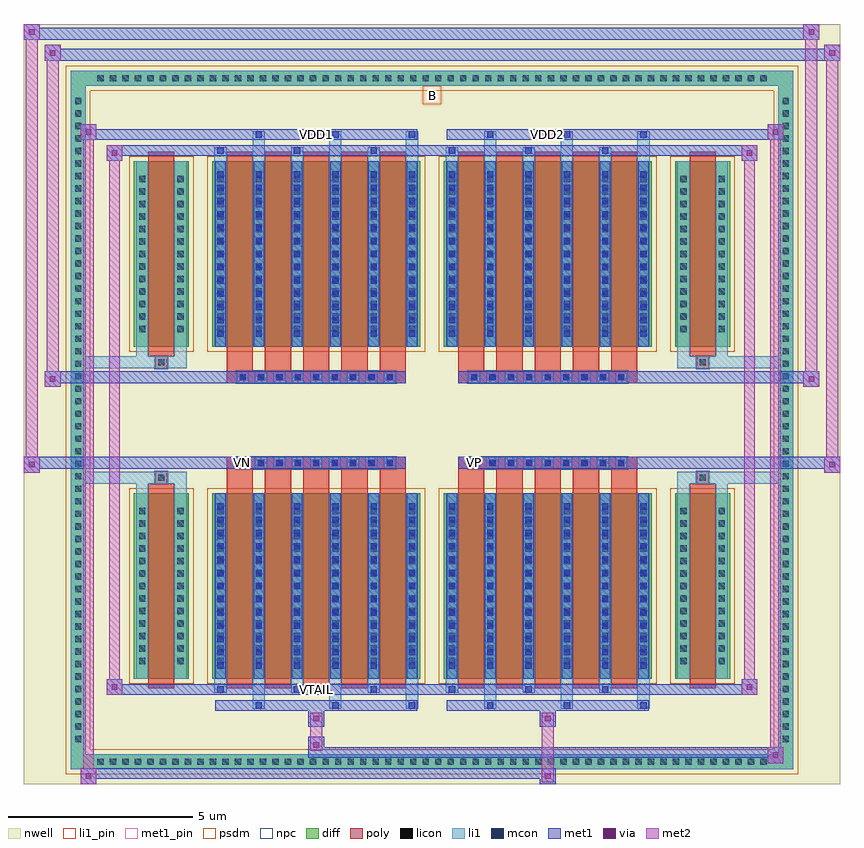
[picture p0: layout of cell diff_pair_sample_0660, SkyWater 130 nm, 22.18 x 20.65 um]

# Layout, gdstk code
import gdstk
lib = gdstk.Library(unit=1e-6, precision=5e-09)
def R(c, l, rs):  # rectangles x0, y0, x1, y1
    for r in rs: c.add(gdstk.rectangle(r[:2], r[2:], *l))
def A(c, l, x, y, w, h, nx, ny, dx, dy):  # array of equal rectangles
    R(c, l, [(x+i*dx, y+j*dy, x+i*dx+w, y+j*dy+h) for i in range(nx) for j in range(ny)])
def P(c, l, *ps):  # polygons
    for p in ps: c.add(gdstk.Polygon(p, *l))
nwell = (64, 20)
diff = (65, 20)
poly = (66, 20)
licon = (66, 44)
li1_pin = (67, 16)
li1 = (67, 20)
mcon = (67, 44)
met1_pin = (68, 16)
met1 = (68, 20)
via = (68, 44)
met2 = (69, 20)
psdm = (94, 20)
npc = (95, 20)

diff_pair_sample_0660 = lib.new_cell('diff_pair_sample_0660')
R(diff_pair_sample_0660, nwell, [(-11.09,-9.89,11.09,10.76), (-8.41,-8.08,-0.01,-0.8), (0.01,-8.08,8.41,-0.8), (-8.41,0.8,-0.01,8.08), (0.01,0.8,8.41,8.08)])
A(diff_pair_sample_0660, diff, -9.215, -9.49, 0.41, 0.41, 54, 2, 0.34, 18.57)
A(diff_pair_sample_0660, diff, -9.82, -8.875, 0.41, 0.41, 1, 52, 0, 0.34)
A(diff_pair_sample_0660, diff, 9.41, -8.875, 0.41, 0.41, 1, 52, 0, 0.34)
R(diff_pair_sample_0660, diff, [(-9.215,-9.49,9.215,-9.08), (-9.82,-8.875,-9.41,8.875), (9.41,-8.875,9.82,8.875), (-8.1,-7.035,-6.61,-1.985), (-5.97,-7.035,-0.32,-1.985), (0.32,-7.035,5.97,-1.985), (6.61,-7.035,8.1,-1.985), (-8.1,1.985,-6.61,7.035), (-5.97,1.985,-0.32,7.035), (0.32,1.985,5.97,7.035), (6.61,1.985,8.1,7.035), (-9.215,9.08,9.215,9.49)])
P(diff_pair_sample_0660, diff, [(9.82,9.49),(-9.82,9.49),(-9.82,-9.08),(-9.41,-9.08),(-9.41,9.08),(9.41,9.08),(9.41,-9.08),(-9.41,-9.08),(-9.82,-9.08),(-9.82,-9.49),(9.82,-9.49)])
A(diff_pair_sample_0660, poly, -5.58, -7.285, 0.71, 5.55, 5, 2, 1.04, 9.02)
A(diff_pair_sample_0660, poly, 0.71, -7.285, 0.71, 5.55, 5, 2, 1.04, 9.02)
A(diff_pair_sample_0660, poly, -5.58, -1.735, 0.71, 0.405, 5, 2, 1.04, 3.065)
A(diff_pair_sample_0660, poly, 0.71, -1.735, 0.71, 0.405, 5, 2, 1.04, 3.065)
A(diff_pair_sample_0660, poly, -5.31, -1.33, 0.33, 0.33, 9, 2, 0.5, 2.33)
A(diff_pair_sample_0660, poly, 0.98, -1.33, 0.33, 0.33, 9, 2, 0.5, 2.33)
R(diff_pair_sample_0660, poly, [(-7.71,-7.285,-7,-1.735), (7,-7.285,7.71,-1.735), (-7.52,-1.735,-7.19,-1.405), (-7.52,-1.735,-7.19,-1.405), (7.19,-1.735,7.52,-1.405), (7.19,-1.735,7.52,-1.405), (-5.58,-1.33,-0.71,-1), (0.71,-1.33,5.58,-1), (-5.58,1,-0.71,1.33), (0.71,1,5.58,1.33), (-7.52,1.405,-7.19,1.735), (-7.52,1.405,-7.19,1.735), (7.19,1.405,7.52,1.735), (7.19,1.405,7.52,1.735), (-7.71,1.735,-7,7.285), (7,1.735,7.71,7.285)])
A(diff_pair_sample_0660, licon, -9.095, -9.37, 0.17, 0.17, 54, 2, 0.34, 18.57)
A(diff_pair_sample_0660, licon, -9.7, -8.755, 0.17, 0.17, 1, 52, 0, 0.34)
A(diff_pair_sample_0660, licon, 9.53, -8.755, 0.17, 0.17, 1, 52, 0, 0.34)
A(diff_pair_sample_0660, licon, -7.96, -6.635, 0.17, 0.17, 1, 13, 0, 0.34)
A(diff_pair_sample_0660, licon, -6.92, -6.635, 0.17, 0.17, 1, 13, 0, 0.34)
A(diff_pair_sample_0660, licon, -5.83, -6.635, 0.17, 0.17, 6, 13, 1.04, 0.34)
A(diff_pair_sample_0660, licon, 0.46, -6.635, 0.17, 0.17, 6, 13, 1.04, 0.34)
A(diff_pair_sample_0660, licon, 6.75, -6.635, 0.17, 0.17, 1, 13, 0, 0.34)
A(diff_pair_sample_0660, licon, 7.79, -6.635, 0.17, 0.17, 1, 13, 0, 0.34)
A(diff_pair_sample_0660, licon, -5.23, -1.25, 0.17, 0.17, 9, 2, 0.5, 2.33)
A(diff_pair_sample_0660, licon, 1.06, -1.25, 0.17, 0.17, 9, 2, 0.5, 2.33)
A(diff_pair_sample_0660, licon, -7.96, 2.385, 0.17, 0.17, 1, 13, 0, 0.34)
A(diff_pair_sample_0660, licon, -6.92, 2.385, 0.17, 0.17, 1, 13, 0, 0.34)
A(diff_pair_sample_0660, licon, -5.83, 2.385, 0.17, 0.17, 6, 13, 1.04, 0.34)
A(diff_pair_sample_0660, licon, 0.46, 2.385, 0.17, 0.17, 6, 13, 1.04, 0.34)
A(diff_pair_sample_0660, licon, 6.75, 2.385, 0.17, 0.17, 1, 13, 0, 0.34)
A(diff_pair_sample_0660, licon, 7.79, 2.385, 0.17, 0.17, 1, 13, 0, 0.34)
R(diff_pair_sample_0660, licon, [(-7.44,-1.655,-7.27,-1.485), (7.27,-1.655,7.44,-1.485), (-7.44,1.485,-7.27,1.655), (7.27,1.485,7.44,1.655)])
R(diff_pair_sample_0660, li1_pin, [(-0.25,8.58,0.25,9.08)])
A(diff_pair_sample_0660, li1, -9.175, -9.45, 0.33, 0.33, 54, 2, 0.34, 18.57)
A(diff_pair_sample_0660, li1, -9.78, -8.835, 0.33, 0.33, 1, 52, 0, 0.34)
A(diff_pair_sample_0660, li1, 9.45, -8.835, 0.33, 0.33, 1, 52, 0, 0.34)
A(diff_pair_sample_0660, li1, -4.87, -7.84, 0.33, 0.805, 3, 2, 2.08, 14.875)
A(diff_pair_sample_0660, li1, -4.79, -7.84, 0.17, 0.17, 3, 2, 2.08, 15.51)
A(diff_pair_sample_0660, li1, 1.42, -7.84, 0.33, 0.805, 3, 2, 2.08, 14.875)
A(diff_pair_sample_0660, li1, 1.5, -7.84, 0.17, 0.17, 3, 2, 2.08, 15.51)
A(diff_pair_sample_0660, li1, -5.91, -7.41, 0.33, 0.375, 3, 2, 2.08, 14.445)
A(diff_pair_sample_0660, li1, -5.83, -7.41, 0.17, 0.17, 3, 2, 2.08, 14.65)
A(diff_pair_sample_0660, li1, 0.38, -7.41, 0.33, 0.375, 3, 2, 2.08, 14.445)
A(diff_pair_sample_0660, li1, 0.46, -7.41, 0.17, 0.17, 3, 2, 2.08, 14.65)
A(diff_pair_sample_0660, li1, -5.91, -7.035, 0.33, 5.05, 6, 2, 1.04, 9.02)
A(diff_pair_sample_0660, li1, 0.38, -7.035, 0.33, 5.05, 6, 2, 1.04, 9.02)
A(diff_pair_sample_0660, li1, -5.83, -6.755, 0.17, 0.17, 6, 13, 1.04, 0.36)
A(diff_pair_sample_0660, li1, -5.83, -6.755, 0.17, 4.49, 6, 2, 1.04, 9.02)
A(diff_pair_sample_0660, li1, 0.46, -6.755, 0.17, 0.17, 6, 13, 1.04, 0.36)
A(diff_pair_sample_0660, li1, 0.46, -6.755, 0.17, 4.49, 6, 2, 1.04, 9.02)
A(diff_pair_sample_0660, li1, -8.04, -6.715, 0.33, 0.33, 1, 13, 0, 0.34)
A(diff_pair_sample_0660, li1, -7, -6.715, 0.33, 0.33, 1, 13, 0, 0.34)
A(diff_pair_sample_0660, li1, -5.91, -6.715, 0.33, 0.33, 6, 13, 1.04, 0.34)
A(diff_pair_sample_0660, li1, 0.38, -6.715, 0.33, 0.33, 6, 13, 1.04, 0.34)
A(diff_pair_sample_0660, li1, 6.67, -6.715, 0.33, 0.33, 1, 13, 0, 0.34)
A(diff_pair_sample_0660, li1, 7.71, -6.715, 0.33, 0.33, 1, 13, 0, 0.34)
A(diff_pair_sample_0660, li1, -5.31, -1.33, 0.33, 0.33, 9, 2, 0.5, 2.33)
A(diff_pair_sample_0660, li1, 0.98, -1.33, 0.33, 0.33, 9, 2, 0.5, 2.33)
A(diff_pair_sample_0660, li1, -5.83, 2.265, 0.17, 0.17, 6, 13, 1.04, 0.36)
A(diff_pair_sample_0660, li1, 0.46, 2.265, 0.17, 0.17, 6, 13, 1.04, 0.36)
A(diff_pair_sample_0660, li1, -8.04, 2.305, 0.33, 0.33, 1, 13, 0, 0.34)
A(diff_pair_sample_0660, li1, -7, 2.305, 0.33, 0.33, 1, 13, 0, 0.34)
A(diff_pair_sample_0660, li1, -5.91, 2.305, 0.33, 0.33, 6, 13, 1.04, 0.34)
A(diff_pair_sample_0660, li1, 0.38, 2.305, 0.33, 0.33, 6, 13, 1.04, 0.34)
A(diff_pair_sample_0660, li1, 6.67, 2.305, 0.33, 0.33, 1, 13, 0, 0.34)
A(diff_pair_sample_0660, li1, 7.71, 2.305, 0.33, 0.33, 1, 13, 0, 0.34)
R(diff_pair_sample_0660, li1, [(-9.82,-9.49,-9.41,-9.08), (-9.82,-9.49,-9.41,-9.08), (-9.41,-9.49,9.41,-9.08), (9.41,-9.49,9.82,-9.08), (9.41,-9.49,9.82,-9.08), (-9.82,-9.08,-9.41,9.08), (9.41,-9.08,9.82,9.08), (-8.04,-7.035,-7.71,-1.985), (-7,-7.035,-6.67,-1.985), (6.67,-7.035,7,-1.985), (7.71,-7.035,8.04,-1.985), (-8.04,-1.985,-7.71,-1.405), (-7,-1.985,-6.67,-1.405), (6.67,-1.985,7,-1.405), (7.71,-1.985,8.04,-1.405), (-9.82,-1.735,-7.52,-1.405), (-8.04,-1.735,-7.52,-1.405), (-7.52,-1.735,-7.19,-1.405), (-7.19,-1.735,-6.67,-1.405), (6.67,-1.735,7.19,-1.405), (7.19,-1.735,7.52,-1.405), (7.19,-1.735,9.82,-1.405), (7.52,-1.735,8.04,-1.405), (-9.82,1.405,-7.52,1.735), (-8.04,1.405,-7.52,1.735), (-8.04,1.405,-7.71,1.985), (-7.52,1.405,-7.19,1.735), (-7.19,1.405,-6.67,1.735), (-7,1.405,-6.67,1.985), (6.67,1.405,7.19,1.735), (6.67,1.405,7,1.985), (7.19,1.405,7.52,1.735), (7.19,1.405,9.82,1.735), (7.52,1.405,8.04,1.735), (7.71,1.405,8.04,1.985), (-8.04,1.985,-7.71,7.035), (-7,1.985,-6.67,7.035), (6.67,1.985,7,7.035), (7.71,1.985,8.04,7.035), (-9.82,9.08,-9.41,9.49), (-9.82,9.08,-9.41,9.49), (-9.41,9.08,9.41,9.49), (9.41,9.08,9.82,9.49), (9.41,9.08,9.82,9.49)])
A(diff_pair_sample_0660, mcon, -4.79, -7.84, 0.17, 0.17, 3, 2, 2.08, 15.51)
A(diff_pair_sample_0660, mcon, 1.5, -7.84, 0.17, 0.17, 3, 2, 2.08, 15.51)
A(diff_pair_sample_0660, mcon, -5.83, -7.41, 0.17, 0.17, 3, 2, 2.08, 14.65)
A(diff_pair_sample_0660, mcon, 0.46, -7.41, 0.17, 0.17, 3, 2, 2.08, 14.65)
A(diff_pair_sample_0660, mcon, -5.83, -6.755, 0.17, 0.17, 6, 13, 1.04, 0.36)
A(diff_pair_sample_0660, mcon, 0.46, -6.755, 0.17, 0.17, 6, 13, 1.04, 0.36)
A(diff_pair_sample_0660, mcon, -5.23, -1.25, 0.17, 0.17, 9, 2, 0.5, 2.33)
A(diff_pair_sample_0660, mcon, 1.06, -1.25, 0.17, 0.17, 9, 2, 0.5, 2.33)
A(diff_pair_sample_0660, mcon, -5.83, 2.265, 0.17, 0.17, 6, 13, 1.04, 0.36)
A(diff_pair_sample_0660, mcon, 0.46, 2.265, 0.17, 0.17, 6, 13, 1.04, 0.36)
R(diff_pair_sample_0660, met1_pin, [(-3.28,-7.45,-3.01,-7.18), (-5.28,-1.29,-5.01,-1.02), (1.01,-1.29,1.28,-1.02), (-3.28,7.63,-3.01,7.9), (3.01,7.63,3.28,7.9)])
A(diff_pair_sample_0660, met1, -4.85, -7.9, 0.29, 0.29, 3, 2, 2.08, 15.51)
A(diff_pair_sample_0660, met1, 1.44, -7.9, 0.29, 0.29, 3, 2, 2.08, 15.51)
A(diff_pair_sample_0660, met1, -5.89, -7.47, 0.29, 0.29, 3, 2, 2.08, 14.65)
A(diff_pair_sample_0660, met1, 0.4, -7.47, 0.29, 0.29, 3, 2, 2.08, 14.65)
A(diff_pair_sample_0660, met1, -5.89, -7.035, 0.29, 5.05, 6, 2, 1.04, 9.02)
A(diff_pair_sample_0660, met1, 0.4, -7.035, 0.29, 5.05, 6, 2, 1.04, 9.02)
A(diff_pair_sample_0660, met1, -5.89, -6.815, 0.29, 0.29, 6, 13, 1.04, 0.36)
A(diff_pair_sample_0660, met1, 0.4, -6.815, 0.29, 0.29, 6, 13, 1.04, 0.36)
A(diff_pair_sample_0660, met1, -5.29, -1.31, 0.29, 0.29, 9, 2, 0.5, 2.33)
A(diff_pair_sample_0660, met1, 1, -1.31, 0.29, 0.29, 9, 2, 0.5, 2.33)
A(diff_pair_sample_0660, met1, -5.89, 2.205, 0.29, 0.29, 6, 13, 1.04, 0.36)
A(diff_pair_sample_0660, met1, 0.4, 2.205, 0.29, 0.29, 6, 13, 1.04, 0.36)
R(diff_pair_sample_0660, met1, [(-9.55,-9.89,-9.12,-9.46), (2.93,-9.89,3.36,-9.46), (-9.55,-9.75,3.36,-9.46), (9.12,-9.32,9.55,-8.89), (-3.36,-9.18,9.55,-8.89), (-3.36,-9.04,-2.93,-8.61), (-3.36,-8.33,-2.93,-7.9), (2.93,-8.33,3.36,-7.9), (-5.89,-7.9,-0.4,-7.61), (0.4,-7.9,5.89,-7.61), (-8.84,-7.47,-8.41,-7.04), (-8.84,-7.47,-5.89,-7.18), (-5.89,-7.47,-0.4,-7.18), (-0.4,-7.47,0.4,-7.18), (0.4,-7.47,5.89,-7.18), (5.89,-7.47,8.84,-7.18), (8.41,-7.47,8.84,-7.04), (-11.09,-1.43,-10.66,-1), (10.66,-1.43,11.09,-1), (-11.09,-1.33,-0.71,-1), (-5.58,-1.33,-0.71,-1), (0.71,-1.33,5.58,-1), (0.71,-1.33,11.09,-1), (-10.52,0.9,-10.09,1.33), (10.09,0.9,10.52,1.33), (-10.52,1,-5.58,1.33), (-5.58,1,-0.71,1.33), (0.71,1,5.58,1.33), (5.58,1,10.52,1.33), (-8.84,7.04,-8.41,7.47), (8.41,7.04,8.84,7.47), (-8.84,7.18,-5.89,7.47), (-5.89,7.18,-0.4,7.47), (-0.4,7.18,0.4,7.47), (0.4,7.18,5.89,7.47), (5.89,7.18,8.84,7.47), (-9.55,7.61,-9.12,8.04), (-9.55,7.61,-5.89,7.9), (-5.89,7.61,-0.4,7.9), (0.4,7.61,5.89,7.9), (5.89,7.61,9.55,7.9), (9.12,7.61,9.55,8.04), (-10.52,9.76,-10.09,10.19), (-10.52,9.76,-8.41,10.09), (-8.41,9.76,8.41,10.09), (8.41,9.76,11.09,10.09), (10.66,9.76,11.09,10.19), (-11.09,10.33,-10.66,10.76), (-11.09,10.33,-8.41,10.66), (-8.41,10.33,8.41,10.66), (8.41,10.33,10.52,10.66), (10.09,10.33,10.52,10.76)])
R(diff_pair_sample_0660, via, [(-9.41,-9.75,-9.26,-9.6), (3.07,-9.75,3.22,-9.6), (9.26,-9.18,9.41,-9.03), (-3.22,-8.9,-3.07,-8.75), (-3.22,-8.19,-3.07,-8.04), (3.07,-8.19,3.22,-8.04), (-8.7,-7.33,-8.55,-7.18), (8.55,-7.33,8.7,-7.18), (-10.95,-1.29,-10.8,-1.14), (10.8,-1.29,10.95,-1.14), (-10.38,1.04,-10.23,1.19), (10.23,1.04,10.38,1.19), (-8.7,7.18,-8.55,7.33), (8.55,7.18,8.7,7.33), (-9.41,7.75,-9.26,7.9), (9.26,7.75,9.41,7.9), (-10.38,9.9,-10.23,10.05), (10.8,9.9,10.95,10.05), (-10.95,10.47,-10.8,10.62), (10.23,10.47,10.38,10.62)])
R(diff_pair_sample_0660, met2, [(-9.55,-9.89,-9.12,-9.46), (-9.48,-9.89,-9.19,8.04), (-9.19,-9.89,-9.12,-9.46), (-9.5,-9.84,-9.17,-9.51), (2.98,-9.84,3.31,-9.51), (2.98,-9.51,3.31,-8.28), (9.12,-9.32,9.55,-8.89), (9.19,-9.32,9.48,8.04), (9.48,-9.32,9.55,-8.89), (9.17,-9.27,9.5,-8.94), (-3.31,-8.99,-2.98,-8.66), (-3.31,-8.66,-2.98,-8.28), (-3.31,-8.28,-2.98,-7.95), (2.98,-8.28,3.31,-7.95), (-8.84,-7.47,-8.41,-7.04), (-8.77,-7.47,-8.48,7.47), (-8.48,-7.47,-8.41,-7.04), (8.41,-7.47,8.84,-7.04), (8.48,-7.47,8.77,7.47), (8.77,-7.47,8.84,-7.04), (-8.79,-7.42,-8.46,-7.09), (8.46,-7.42,8.79,-7.09), (-11.09,-1.43,-10.66,-1), (-11.04,-1.43,-10.71,10.76), (-10.71,-1.43,-10.66,-1), (10.66,-1.43,11.09,-1), (10.71,-1.43,11.04,10.19), (11.04,-1.43,11.09,-1), (-11.04,-1.38,-10.71,-1.05), (10.71,-1.38,11.04,-1.05), (-10.52,0.9,-10.09,1.33), (-10.47,0.9,-10.14,10.19), (-10.14,0.9,-10.09,1.33), (10.09,0.9,10.52,1.33), (10.14,0.9,10.47,10.76), (10.47,0.9,10.52,1.33), (-10.47,0.95,-10.14,1.28), (10.14,0.95,10.47,1.28), (-8.84,7.04,-8.41,7.47), (-8.48,7.04,-8.41,7.47), (8.41,7.04,8.84,7.47), (8.77,7.04,8.84,7.47), (-8.79,7.09,-8.46,7.42), (8.46,7.09,8.79,7.42), (-9.55,7.61,-9.12,8.04), (-9.19,7.61,-9.12,8.04), (9.12,7.61,9.55,8.04), (9.48,7.61,9.55,8.04), (-9.5,7.66,-9.17,7.99), (9.17,7.66,9.5,7.99), (-10.52,9.76,-10.09,10.19), (-10.14,9.76,-10.09,10.19), (10.66,9.76,11.09,10.19), (11.04,9.76,11.09,10.19), (-10.47,9.81,-10.14,10.14), (10.71,9.81,11.04,10.14), (-11.09,10.33,-10.66,10.76), (-10.71,10.33,-10.66,10.76), (10.09,10.33,10.52,10.76), (10.47,10.33,10.52,10.76), (-11.04,10.38,-10.71,10.71), (10.14,10.38,10.47,10.71)])
R(diff_pair_sample_0660, psdm, [(-8.23,-7.165,-6.48,-1.855), (-6.1,-7.165,-0.19,-1.855), (0.19,-7.165,6.1,-1.855), (6.48,-7.165,8.23,-1.855), (-8.23,1.855,-6.48,7.165), (-6.1,1.855,-0.19,7.165), (0.19,1.855,6.1,7.165), (6.48,1.855,8.23,7.165)])
P(diff_pair_sample_0660, psdm, [(9.95,9.62),(-9.95,9.62),(-9.95,-8.95),(-9.28,-8.95),(-9.28,8.95),(9.28,8.95),(9.28,-8.95),(-9.28,-8.95),(-9.95,-8.95),(-9.95,-9.62),(9.95,-9.62)])
A(diff_pair_sample_0660, npc, -5.33, -1.35, 0.37, 0.37, 9, 2, 0.5, 2.33)
A(diff_pair_sample_0660, npc, 0.96, -1.35, 0.37, 0.37, 9, 2, 0.5, 2.33)
R(diff_pair_sample_0660, npc, [(-7.54,-1.755,-7.17,-1.385), (7.17,-1.755,7.54,-1.385), (-5.33,-1.35,-4.46,-0.98), (-5.33,-1.35,-4.46,-0.98), (-4.83,-1.35,-3.96,-0.98), (-4.83,-1.35,-3.96,-0.98), (-4.33,-1.35,-3.46,-0.98), (-4.33,-1.35,-3.46,-0.98), (-3.83,-1.35,-2.96,-0.98), (-3.83,-1.35,-2.96,-0.98), (-3.33,-1.35,-2.46,-0.98), (-3.33,-1.35,-2.46,-0.98), (-2.83,-1.35,-1.96,-0.98), (-2.83,-1.35,-1.96,-0.98), (-2.33,-1.35,-1.46,-0.98), (-2.33,-1.35,-1.46,-0.98), (-1.83,-1.35,-0.96,-0.98), (-1.83,-1.35,-0.96,-0.98), (0.96,-1.35,1.83,-0.98), (0.96,-1.35,1.83,-0.98), (1.46,-1.35,2.33,-0.98), (1.46,-1.35,2.33,-0.98), (1.96,-1.35,2.83,-0.98), (1.96,-1.35,2.83,-0.98), (2.46,-1.35,3.33,-0.98), (2.46,-1.35,3.33,-0.98), (2.96,-1.35,3.83,-0.98), (2.96,-1.35,3.83,-0.98), (3.46,-1.35,4.33,-0.98), (3.46,-1.35,4.33,-0.98), (3.96,-1.35,4.83,-0.98), (3.96,-1.35,4.83,-0.98), (4.46,-1.35,5.33,-0.98), (4.46,-1.35,5.33,-0.98), (-5.33,0.98,-4.46,1.35), (-5.33,0.98,-4.46,1.35), (-4.83,0.98,-3.96,1.35), (-4.83,0.98,-3.96,1.35), (-4.33,0.98,-3.46,1.35), (-4.33,0.98,-3.46,1.35), (-3.83,0.98,-2.96,1.35), (-3.83,0.98,-2.96,1.35), (-3.33,0.98,-2.46,1.35), (-3.33,0.98,-2.46,1.35), (-2.83,0.98,-1.96,1.35), (-2.83,0.98,-1.96,1.35), (-2.33,0.98,-1.46,1.35), (-2.33,0.98,-1.46,1.35), (-1.83,0.98,-0.96,1.35), (-1.83,0.98,-0.96,1.35), (0.96,0.98,1.83,1.35), (0.96,0.98,1.83,1.35), (1.46,0.98,2.33,1.35), (1.46,0.98,2.33,1.35), (1.96,0.98,2.83,1.35), (1.96,0.98,2.83,1.35), (2.46,0.98,3.33,1.35), (2.46,0.98,3.33,1.35), (2.96,0.98,3.83,1.35), (2.96,0.98,3.83,1.35), (3.46,0.98,4.33,1.35), (3.46,0.98,4.33,1.35), (3.96,0.98,4.83,1.35), (3.96,0.98,4.83,1.35), (4.46,0.98,5.33,1.35), (4.46,0.98,5.33,1.35), (-7.54,1.385,-7.17,1.755), (7.17,1.385,7.54,1.755)])
diff_pair_sample_0660.add(gdstk.Label('VTAIL', (-3.145,-7.315), layer=68, texttype=5))
diff_pair_sample_0660.add(gdstk.Label('VN', (-5.145,-1.155), layer=68, texttype=5))
diff_pair_sample_0660.add(gdstk.Label('VP', (1.145,-1.155), layer=68, texttype=5))
diff_pair_sample_0660.add(gdstk.Label('B', (0,8.83), layer=67, texttype=5))
diff_pair_sample_0660.add(gdstk.Label('VDD2', (3.145,7.765), layer=68, texttype=5))
diff_pair_sample_0660.add(gdstk.Label('VDD1', (-3.145,7.765), layer=68, texttype=5))

lib.write_gds('diff_pair_sample_0660.gds')
